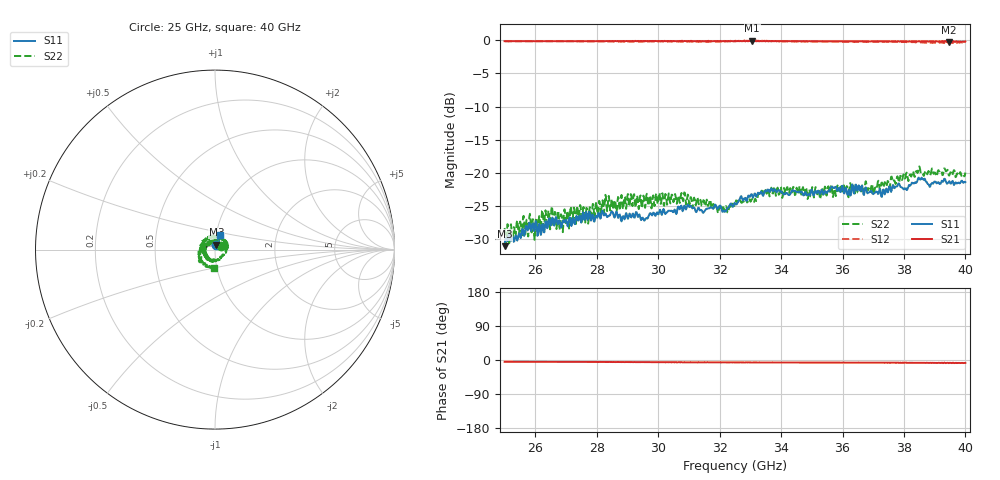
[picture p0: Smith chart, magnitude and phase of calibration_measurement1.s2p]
!Keysight Technologies,N5225A,MY55451607,A.10.47.03
!Date: Friday, May 31, 2024 10:04:01
!Correction: S11(Full 2 Port(1,2))
!S21(Full 2 Port(1,2))
!S12(Full 2 Port(1,2))
!S22(Full 2 Port(1,2))
!S2P File: Measurements: S11, S21, S12, S22:
# Hz S  RI  R 50
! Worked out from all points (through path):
!   801 points, 25 GHz to 40 GHz, reference 50 ohm
!   highest |S21| = -0.05 dB at 33.06 GHz (marker M1); lowest = -0.3 dB at 39.48 GHz (marker M2)
!   group delay of S21, straight-line fit = 592 fs
!   lowest |S11| = -31.1 dB at 25 GHz (marker M3), VSWR 1.06, Z = 50.7 + j2.72 ohm
!   |S11| at or under -10 dB: start of sweep to end of sweep
!   |S22| runs from -30.7 to -19.1 dB; largest |S21 - S12| = 0.042
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2.5e10  0.00751 0.0268  0.9835 -0.0782  0.9814 -0.0778  0.0336 0.0182
2.575e10  0.0152 0.0332  0.9832 -0.0802  0.9833 -0.0816  0.0115 0.0345
2.6125e10  0.0178 0.0369  0.9819 -0.0825  0.9832 -0.0838  0.00894 0.0462
2.65e10  0.0133 0.0375  0.9817 -0.0839  0.9826 -0.0852  0.00472 0.0413
2.68375e10  0.0115 0.0369  0.9818 -0.0848  0.9828 -0.0863  -0.0127 0.0469
2.75125e10  0.016 0.041  0.9825 -0.0871  0.982 -0.0876  -0.0298 0.0292
2.7775e10  0.0119 0.0475  0.9814 -0.0887  0.9788 -0.0898  -0.0435 0.0337
2.83375e10  0.0133 0.0442  0.9831 -0.0913  0.9765 -0.0891  -0.0492 0.0144
2.951875e10  0.00339 0.0446  0.9849 -0.0956  0.9766 -0.0903  -0.0604 -0.0292
3.000625e10  0.00861 0.0476  0.985 -0.099  0.9757 -0.0962  -0.0469 -0.0422
3.08125e10  0.0112 0.0507  0.9806 -0.1034  0.9697 -0.1035  -0.0177 -0.0582
3.199375e10  0.012 0.0548  0.9772 -0.1065  0.9815 -0.1062  0.0333 -0.0441
3.25e10  0.0155 0.057  0.9841 -0.1129  0.9869 -0.1037  0.0528 -0.0248
3.30625e10  0.024 0.0629  0.9877 -0.1141  0.9869 -0.1079  0.0632 0.00228
3.341875e10  0.0228 0.0628  0.9823 -0.1131  0.9846 -0.1142  0.0677 0.0169
3.50125e10  0.026 0.0687  0.9775 -0.1156  0.9747 -0.1123  0.0175 0.0758
3.570625e10  0.0352 0.0683  0.9778 -0.1164  0.971 -0.115  -0.0139 0.0678
3.62125e10  0.0277 0.0687  0.9753 -0.118  0.9666 -0.1126  -0.0311 0.063
3.750625e10  0.0382 0.0658  0.977 -0.1177  0.9702 -0.1343  -0.0802 -0.0132
3.84625e10  0.0403 0.0814  0.9745 -0.1234  0.9568 -0.1514  -0.0856 -0.058
3.9475e10  0.026 0.0823  0.9621 -0.1348  0.9568 -0.1365  -0.0334 -0.0889
4e10  0.0261 0.0806  0.9722 -0.1317  0.9575 -0.1437  -0.00441 -0.1002
